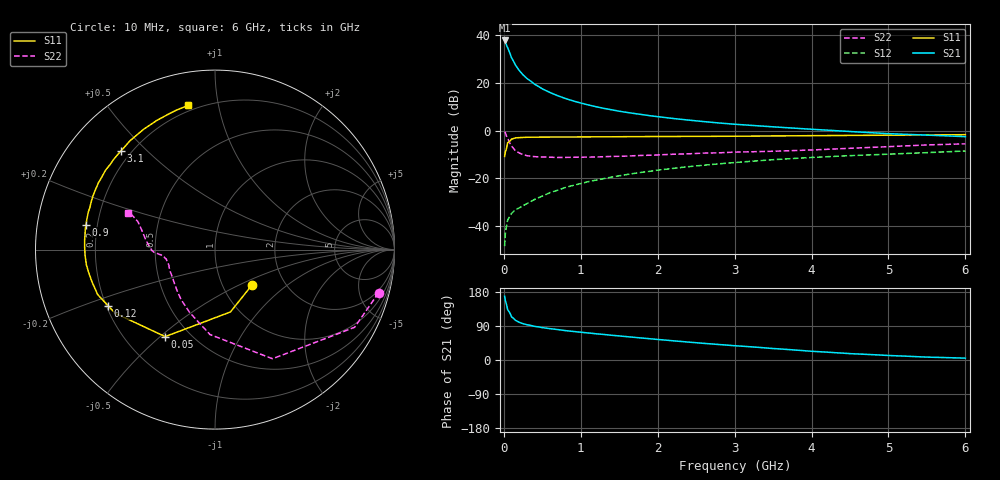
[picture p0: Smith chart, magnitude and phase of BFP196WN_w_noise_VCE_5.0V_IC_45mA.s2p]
! Infineon Technologies  Discrete & RF Semiconductors
! BFP196WN
! VCE =  5.0 V,  IC =  45 mA
! Common Emitter S-Parameters:  Jan 2017
# GHz  S  MA  R  50
!  f  S11  S21  S12  S22
! GHz  MAG  ANG  MAG  ANG  MAG  ANG  MAG  ANG
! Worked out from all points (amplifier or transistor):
!   77 points, 10 MHz to 6 GHz, reference 50 ohm
!   highest |S21| = 37.9 dB at 10 MHz (marker M1)
!   |S21| within 3 dB of that: start of sweep to 48.4 MHz
!   unconditionally stable (mu >= 1): 659.2 MHz to 2.708 GHz
!   at 130 MHz: K = 0.52, MSG = 31.4 dB, |S12| = -33.9 dB
!   at 2.2 GHz: K = 1.02, MAG = 9.6 dB, |S12| = -15.9 dB
!   at 6 GHz: K = 0.91, MSG = 3.0 dB, |S12| = -8.6 dB
!   lowest NFmin = 1.22 dB at 450 MHz
!   S11 on the Smith chart (normalised r, x): 10 MHz: 1.38, -0.59; 50 MHz: 0.37, -0.52; 120 MHz: 0.21, -0.24; 900 MHz: 0.16, +0.09; 3.1 GHz: 0.16, +0.42; 6 GHz: 0.17, +0.82
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0.01  0.2849 -43.3  78.23 168.5  0.0037 80.7  0.9427 -14.8
0.02  0.3579 -76.1  72.34 156.6  0.0069 75.4  0.89 -29.1
0.05  0.5586 -119.8  54.68 132.4  0.013 54.3  0.6873 -62.2
0.1  0.6599 -147.5  33.8 113.6  0.018 48.4  0.474 -93.4
0.12  0.6726 -152.3  29.78 110.8  0.0194 48.5  0.4304 -99.8
0.15  0.7 -159.0  23.95 104.8  0.0215 48.6  0.3778 -111.9
0.2  0.7087 -165.5  18.3 99.5  0.0236 51.5  0.3365 -124.2
0.25  0.7155 -169.8  14.79 95.8  0.0263 53.5  0.312 -132.5
0.3  0.7215 -173.2  12.43 93.1  0.0289 55.7  0.2956 -139.4
0.4  0.7248 -177.8  9.394 88.7  0.0355 61.1  0.2821 -147.9
0.5  0.7264 178.7  7.532 85.5  0.0417 63.7  0.2776 -154.1
0.6  0.7282 175.9  6.292 82.7  0.0494 64.6  0.2747 -158.3
0.7  0.7287 173.5  5.387 80.3  0.0557 66.2  0.271 -161.3
0.8  0.7318 171.1  4.719 77.6  0.0633 67.3  0.272 -163.3
0.9  0.7317 169.0  4.192 75.4  0.0701 67.1  0.274 -165.2
1.1  0.7346 165.2  3.443 71.3  0.0844 67.5  0.276 -168.3
1.5  0.74 158.3  2.546 63.5  0.1117 66.5  0.2871 -172.2
2.1  0.7487 148.7  1.872 52.5  0.1532 63.0  0.3117 -175.2
3.1  0.7593 133.7  1.321 36.4  0.2181 55.3  0.3539 -179.8
4.1  0.7809 119.3  1.04 21.9  0.2761 46.9  0.396 170.4
5.1  0.799 108.4  0.846 11.1  0.323 39.4  0.4655 159.5
6  0.8174 100.6  0.743 4.9  0.3711 33.5  0.5244 156.8
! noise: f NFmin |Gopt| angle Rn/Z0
0.45  1.22  0.52  -178  0.05
0.9  1.34  0.55  -172  0.05
1.9  2.26  0.68  -148  0.14
2.4  2.99  0.69  -141  0.27
